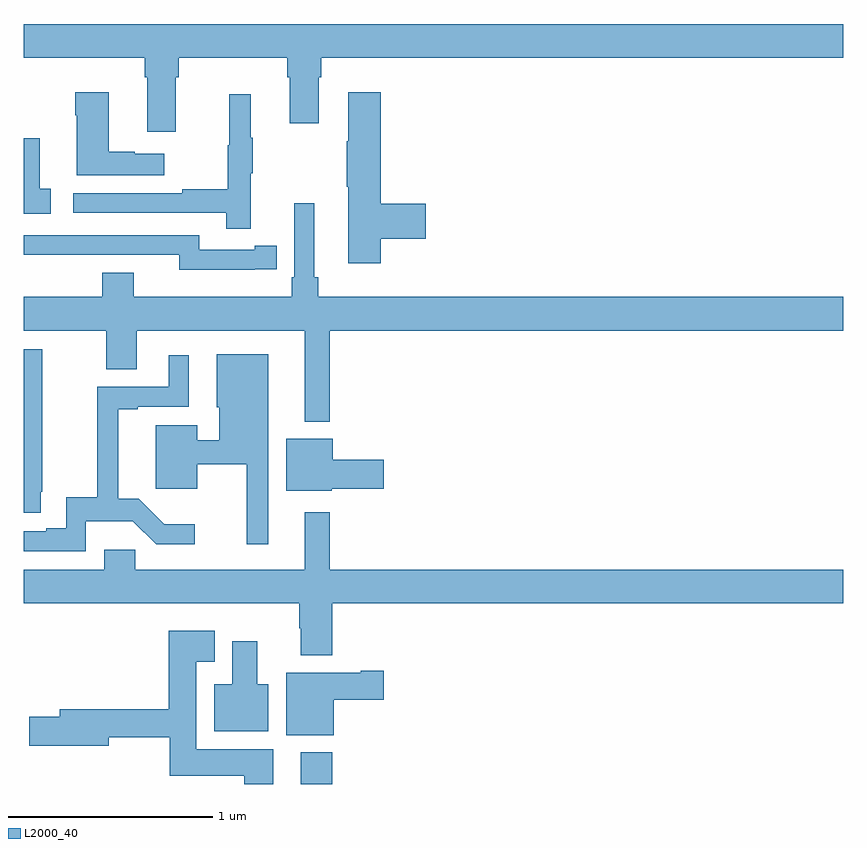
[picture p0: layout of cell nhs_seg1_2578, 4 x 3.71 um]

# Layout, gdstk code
import gdstk
lib = gdstk.Library(unit=1e-6, precision=1e-09)
def R(c, l, rs):  # rectangles x0, y0, x1, y1
    for r in rs: c.add(gdstk.rectangle(r[:2], r[2:], *l))
def P(c, l, *ps):  # polygons
    for p in ps: c.add(gdstk.Polygon(p, *l))
L2000_40 = (2000, 40)

nhs_seg1_2578 = lib.new_cell('nhs_seg1_2578')
R(nhs_seg1_2578, L2000_40, [(252.353,536.199,252.506,536.353)])
P(nhs_seg1_2578, L2000_40, [(251.743,539.648),(251.756,539.648),(251.756,539.744),(252.287,539.744),(252.287,539.648),(252.299,539.648),(252.299,539.424),(252.439,539.424),(252.439,539.648),(252.452,539.648),(252.452,539.744),(255,539.744),(255,539.908),(251,539.908),(251,539.744),(251.591,539.744),(251.591,539.648),(251.603,539.648),(251.603,539.382),(251.743,539.382)],
  [(251.686,539.275),(251.543,539.275),(251.543,539.285),(251.416,539.285),(251.416,539.575),(251.251,539.575),(251.251,539.462),(251.258,539.462),(251.258,539.171),(251.686,539.171)],
  [(252.743,538.859),(252.961,538.859),(252.961,539.03),(252.743,539.03),(252.743,539.575),(252.584,539.575),(252.584,539.336),(252.577,539.336),(252.577,539.113),(252.584,539.113),(252.584,538.74),(252.743,538.74)],
  [(252.107,539.179),(252.118,539.179),(252.118,539.353),(252.107,539.353),(252.107,539.566),(252.004,539.566),(252.004,539.316),(251.997,539.316),(251.997,539.102),(251.773,539.102),(251.773,539.082),(251.241,539.082),(251.241,538.986),(251.989,538.986),(251.989,538.908),(252.107,538.908)],
  [(251.131,539.103),(251.078,539.103),(251.078,539.35),(251,539.35),(251,538.983),(251.131,538.983)],
  [(252.493,538.412),(255,538.412),(255,538.576),(252.437,538.576),(252.437,538.672),(252.418,538.672),(252.418,539.032),(252.321,539.032),(252.321,538.672),(252.308,538.672),(252.308,538.576),(251.536,538.576),(251.536,538.693),(251.384,538.693),(251.384,538.576),(251,538.576),(251,538.412),(251.404,538.412),(251.404,538.222),(251.551,538.222),(251.551,538.412),(252.371,538.412),(252.371,537.968),(252.493,537.968)],
  [(252.128,538.71),(252.236,538.71),(252.236,538.826),(252.128,538.826),(252.128,538.806),(251.856,538.806),(251.856,538.878),(251,538.878),(251,538.781),(251.3,538.781),(251.3,538.782),(251.76,538.782),(251.76,538.709),(252.128,538.709)],
  [(251.084,537.625),(251.09,537.625),(251.09,538.32),(251,538.32),(251,537.523),(251.084,537.523)],
  [(252.193,538.297),(251.942,538.297),(251.942,538.038),(251.954,538.038),(251.954,537.877),(251.848,537.877),(251.848,537.949),(251.645,537.949),(251.645,537.639),(251.848,537.639),(251.848,537.76),(252.089,537.76),(252.089,537.369),(252.193,537.369)],
  [(251.304,537.482),(251.533,537.482),(251.646,537.369),(251.836,537.369),(251.836,537.466),(251.687,537.466),(251.561,537.592),(251.462,537.592),(251.462,538.029),(251.557,538.029),(251.557,538.041),(251.806,538.041),(251.806,538.291),(251.708,538.291),(251.708,538.137),(251.359,538.137),(251.359,537.599),(251.208,537.599),(251.208,537.446),(251.111,537.446),(251.111,537.432),(251,537.432),(251,537.336),(251.304,537.336)],
  [(252.504,537.64),(252.757,537.64),(252.757,537.782),(252.508,537.782),(252.508,537.883),(252.281,537.883),(252.281,537.629),(252.504,537.629)],
  [(252.493,537.526),(252.371,537.526),(252.371,537.244),(251.545,537.244),(251.545,537.342),(251.393,537.342),(251.393,537.244),(251,537.244),(251,537.08),(252.346,537.08),(252.346,536.96),(252.353,536.96),(252.353,536.828),(252.506,536.828),(252.506,537.08),(255,537.08),(255,537.244),(252.493,537.244)],
  [(252.217,536.368),(251.842,536.368),(251.842,536.795),(251.932,536.795),(251.932,536.947),(251.708,536.947),(251.708,536.564),(251.177,536.564),(251.177,536.528),(251.028,536.528),(251.028,536.386),(251.416,536.386),(251.416,536.428),(251.713,536.428),(251.713,536.24),(252.077,536.24),(252.077,536.199),(252.217,536.199)],
  [(252.193,536.686),(252.139,536.686),(252.139,536.896),(252.017,536.896),(252.017,536.686),(251.93,536.686),(251.93,536.456),(252.193,536.456)],
  [(252.514,536.609),(252.757,536.609),(252.757,536.751),(252.644,536.751),(252.644,536.743),(252.281,536.743),(252.281,536.438),(252.514,536.438)])

lib.write_gds('nhs_seg1_2578.gds')
